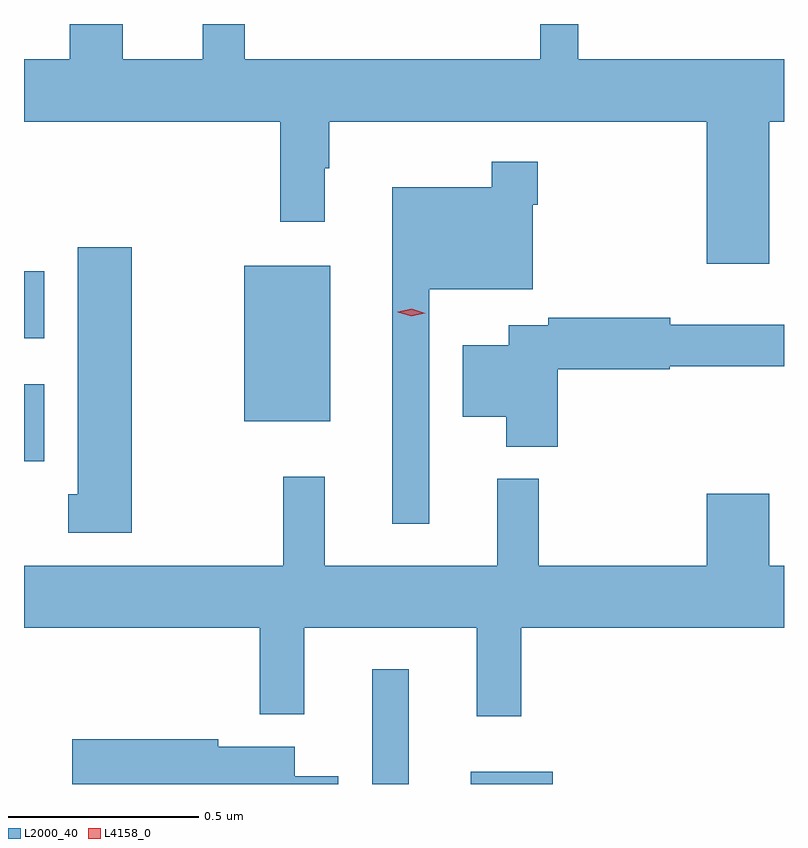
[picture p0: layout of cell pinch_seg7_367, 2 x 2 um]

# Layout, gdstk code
import gdstk
lib = gdstk.Library(unit=1e-6, precision=1e-09)
def R(c, l, rs):  # rectangles x0, y0, x1, y1
    for r in rs: c.add(gdstk.rectangle(r[:2], r[2:], *l))
def P(c, l, *ps):  # polygons
    for p in ps: c.add(gdstk.Polygon(p, *l))
L2000_40 = (2000, 40)
L4158_0 = (4158, 0)

pinch_seg7_367 = lib.new_cell('pinch_seg7_367')
R(pinch_seg7_367, L2000_40, [(463.827,1002.869,463.924,1003.171), (464.087,1002.869,464.302,1002.901), (462.911,1003.719,462.964,1003.921), (463.49,1003.823,463.717,1004.233), (462.911,1004.042,462.964,1004.218)])
P(pinch_seg7_367, L2000_40, [(464.872,1004.612),(464.911,1004.612),(464.911,1004.776),(464.37,1004.776),(464.37,1004.869),(464.269,1004.869),(464.269,1004.776),(463.492,1004.776),(463.492,1004.869),(463.382,1004.869),(463.382,1004.776),(463.171,1004.776),(463.171,1004.869),(463.031,1004.869),(463.031,1004.776),(462.911,1004.776),(462.911,1004.612),(463.585,1004.612),(463.585,1004.349),(463.702,1004.349),(463.702,1004.489),(463.714,1004.489),(463.714,1004.612),(464.708,1004.612),(464.708,1004.238),(464.872,1004.238)],
  [(463.977,1004.171),(464.25,1004.171),(464.25,1004.393),(464.263,1004.393),(464.263,1004.506),(464.142,1004.506),(464.142,1004.44),(463.88,1004.44),(463.88,1003.554),(463.977,1003.554)],
  [(463.194,1004.281),(463.052,1004.281),(463.052,1003.632),(463.028,1003.632),(463.028,1003.53),(463.194,1003.53)],
  [(464.315,1003.96),(464.61,1003.96),(464.61,1003.968),(464.911,1003.968),(464.911,1004.077),(464.612,1004.077),(464.612,1004.096),(464.29,1004.096),(464.29,1004.076),(464.186,1004.076),(464.186,1004.023),(464.066,1004.023),(464.066,1003.835),(464.18,1003.835),(464.18,1003.757),(464.315,1003.757)],
  [(464.911,1003.444),(464.872,1003.444),(464.872,1003.633),(464.708,1003.633),(464.708,1003.444),(464.266,1003.444),(464.266,1003.672),(464.156,1003.672),(464.156,1003.444),(463.703,1003.444),(463.703,1003.678),(463.593,1003.678),(463.593,1003.444),(462.911,1003.444),(462.911,1003.28),(463.531,1003.28),(463.531,1003.052),(463.649,1003.052),(463.649,1003.28),(464.102,1003.28),(464.102,1003.047),(464.219,1003.047),(464.219,1003.28),(464.911,1003.28)],
  [(463.738,1002.889),(463.624,1002.889),(463.624,1002.967),(463.422,1002.967),(463.422,1002.987),(463.038,1002.987),(463.038,1002.869),(463.738,1002.869)])
P(pinch_seg7_367, L4158_0, [(463.93,1004.1),(463.895,1004.111),(463.895,1004.111),(463.895,1004.112),(463.931,1004.12),(463.967,1004.108),(463.967,1004.108),(463.967,1004.108)])

lib.write_gds('pinch_seg7_367.gds')
